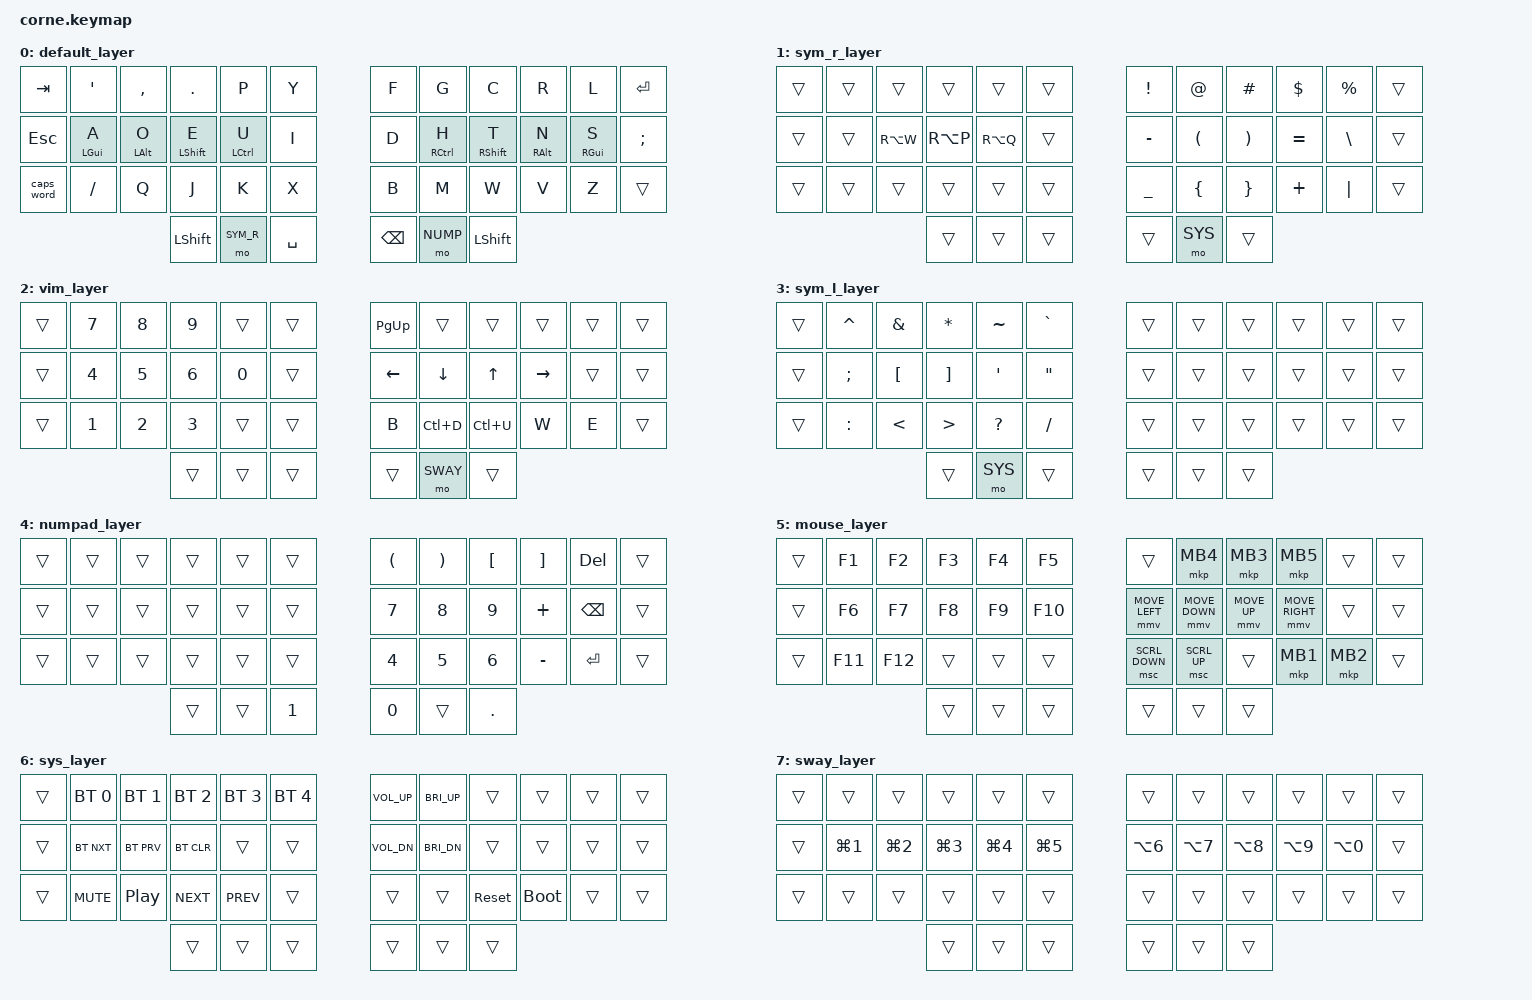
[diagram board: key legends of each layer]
/*
 * Corne v3 — Dvorak + Full HRM (no shift on HRM)
 * 
 * MODIFIER STRATEGY:
 *   HRM:       A=GUI  O=ALT  U=CTL  |  H=CTL  N=ALT  S=GUI  (GACS, no shift)
 *   Shift:     L1/R1 thumb hold (physical fallback)
 *   One-shot:  L1+R1 combo → OSM Shift
 *   Caps Word: Left outer bottom column key
 *   Reserved:  Right outer bottom column key (&trans)
 *
 * LAYER MAP:
 *   0  Base       — Dvorak + HRM
 *   1  L1         — Symbols right hand / Swedish left hand
 *   2  L2         — Vim motions right / Numbers left
 *   3  R1         — Symbols left hand
 *   4  R2         — Numpad
 *   5  L1+L2      — F-keys left / Mouse right
 *   6  R1+R2      — BT / System
 *   7  L2+R2      — Sway / Buffer switching
 *
 * COMBO LIST:
 *   L1+R1          → One-shot Shift
 *   Num layer 12   → (
 *   Num layer 23   → )
 *   Num layer 45   → [
 *   Num layer 56   → ]
 *   Num layer 78   → {
 *   Num layer 89   → }
 *
 * FREED KEYS (leave &trans, assign later if HRM feels good):
 *   Left  col bottom (old LCTRL): CAPS_WORD  ← assigned
 *   Right col bottom (old LGUI):  &trans     ← reserved
 */

#include <behaviors.dtsi>
#include <dt-bindings/zmk/bt.h>
#include <dt-bindings/zmk/keys.h>
#include <dt-bindings/zmk/pointing.h>

// ---------------------------------------------------------------------------
// Pointing defaults
// ---------------------------------------------------------------------------
#define ZMK_POINTING_DEFAULT_MOVE_VAL 1500
#define ZMK_POINTING_DEFAULT_SCRL_VAL 20

// ---------------------------------------------------------------------------
// Layer aliases
// ---------------------------------------------------------------------------
#define BASE  0
#define SYM_R 1   // L1 — symbols right / Swedish left
#define VIM   2   // L2 — vim motions right / numbers left
#define SYM_L 3   // R1 — symbols left
#define NUMP  4   // R2 — numpad
#define MOUSE 5   // L1+L2 — F-keys + mouse
#define SYS   6   // R1+R2 — BT / system
#define SWAY  7   // L2+R2 — Sway / buffers

// ---------------------------------------------------------------------------
// Timing — tuned for fast Dvorak typing
//
// tapping-term-ms:      How long a hold must be to register as hold vs tap.
//                       200ms is conservative; drop to 175 once comfortable.
// require-prior-idle-ms: Key must have been idle this long before HRM hold
//                        triggers. Prevents misfires mid-roll. 150ms is safe
//                        for ~80wpm; lower to 120 at higher speeds.
// quick-tap-ms:         Tap then hold within this window = repeat, not mod.
//                       Useful for held backspace/space.
// ---------------------------------------------------------------------------
#define HRM_TAPPING_TERM  200
#define HRM_IDLE          150
#define COMBO_TERM         40

// ---------------------------------------------------------------------------
// HRM behaviour — hold-preferred with prior-idle guard
// ---------------------------------------------------------------------------
/ {
    behaviors {
        hml: hrm_left {
            compatible = "zmk,behavior-hold-tap";
            #binding-cells = <2>;
            flavor = "balanced";
            tapping-term-ms = <HRM_TAPPING_TERM>;
            require-prior-idle-ms = <HRM_IDLE>;
            quick-tap-ms = <175>;
            hold-trigger-key-positions = <
                /* right hand keys — allow left HRM to fire when right hand presses */
                6 7 8 9 10 11
                18 19 20 21 22 23
                30 31 32 33 34 35
                39 40 41
            >;
            hold-trigger-on-release;
            bindings = <&kp>, <&kp>;
        };

        hmr: hrm_right {
            compatible = "zmk,behavior-hold-tap";
            #binding-cells = <2>;
            flavor = "balanced";
            tapping-term-ms = <HRM_TAPPING_TERM>;
            require-prior-idle-ms = <HRM_IDLE>;
            quick-tap-ms = <175>;
            hold-trigger-key-positions = <
                /* left hand keys — allow right HRM to fire when left hand presses */
                0 1 2 3 4 5
                12 13 14 15 16 17
                24 25 26 27 28 29
                36 37 38
            >;
            hold-trigger-on-release;
            bindings = <&kp>, <&kp>;
        };

        /* Layer-tap with same timing for thumb keys */
        lt_spc: layer_tap_space {
            compatible = "zmk,behavior-hold-tap";
            #binding-cells = <2>;
            flavor = "balanced";
            tapping-term-ms = <200>;
            quick-tap-ms = <175>;
            bindings = <&mo>, <&kp>;
        };
    };

// ---------------------------------------------------------------------------
// Combos
// ---------------------------------------------------------------------------
    combos {
        compatible = "zmk,combos";

        /* L1 + R1 thumbs simultaneously → one-shot shift */
        combo_osm_shift {
            timeout-ms = <COMBO_TERM>;
            key-positions = <36 41>;   /* L1 thumb + R1 thumb */
            bindings = <&sk LSHIFT>;
        };

        /* Number layer bracket combos — only active on VIM layer */
        /* Key positions on left hand num block (see VIM layer comments) */
        /* Row mapping: 1=pos13, 2=pos14, 3=pos15  4=pos25, 5=pos26, 6=pos27
                        7=pos25 ... adjust to your actual key-positions      */

        combo_num_lparen {   /* 1+2 → ( */
            timeout-ms = <COMBO_TERM>;
            key-positions = <13 14>;
            layers = <VIM>;
            bindings = <&kp LPAR>;
        };
        combo_num_rparen {   /* 2+3 → ) */
            timeout-ms = <COMBO_TERM>;
            key-positions = <14 15>;
            layers = <VIM>;
            bindings = <&kp RPAR>;
        };
        combo_num_lbkt {    /* 4+5 → [ */
            timeout-ms = <COMBO_TERM>;
            key-positions = <25 26>;
            layers = <VIM>;
            bindings = <&kp LBKT>;
        };
        combo_num_rbkt {    /* 5+6 → ] */
            timeout-ms = <COMBO_TERM>;
            key-positions = <26 27>;
            layers = <VIM>;
            bindings = <&kp RBKT>;
        };
        combo_num_lbrc {    /* 7+8 → { */
            timeout-ms = <COMBO_TERM>;
            key-positions = <1 2>;
            layers = <VIM>;
            bindings = <&kp LBRC>;
        };
        combo_num_rbrc {    /* 8+9 → } */
            timeout-ms = <COMBO_TERM>;
            key-positions = <2 3>;
            layers = <VIM>;
            bindings = <&kp RBRC>;
        };
    };

// ---------------------------------------------------------------------------
// Tri-layer bindings (L1+L2 → MOUSE, R1+R2 → SYS, L2+R2 → SWAY)
// ---------------------------------------------------------------------------
    conditional_layers {
        compatible = "zmk,conditional-layers";

        tri_mouse {
            if-layers = <SYM_R VIM>;
            then-layer = <MOUSE>;
        };
        tri_sys {
            if-layers = <SYM_L NUMP>;
            then-layer = <SYS>;
        };
        tri_sway {
            if-layers = <VIM NUMP>;
            then-layer = <SWAY>;
        };
    };

// ---------------------------------------------------------------------------
// Keymap
// ---------------------------------------------------------------------------
    keymap {
        compatible = "zmk,keymap";

        // -------------------------------------------------------------------
        // 0: BASE — Dvorak + HRM
        //
        // HRM assignments (hold=mod, tap=key):
        //   A → GUI   O → ALT   U → CTL   (left hand, pinky→index)
        //   H → CTL   N → ALT   S → GUI   (right hand, index→pinky)
        //
        // Outer bottom column:
        //   Left:  CAPS_WORD
        //   Right: &trans (reserved — physical fallback once HRM feels good)
        //
        // ┌──────┬──────┬──────┬──────┬──────┬──────┐ ┌──────┬──────┬──────┬──────┬──────┬──────┐
        // │  TAB │  '   │  ,   │  .   │  P   │  Y   │ │  F   │  G   │  C   │  R   │  L   │ ENT  │
        // │  ESC │ GUI/A│ ALT/O│ SFT/E│ CTL/U│  I   │ │  D   │ CTL/H│ SFT/T│ ALT/N│ GUI/S│  ;   │
        // │ CAPS │  /   │  Q   │  J   │  K   │  X   │ │  B   │  M   │  W   │  V   │  Z   │trans │
        // └──────┴──────┴──────┼──────┼──────┼──────┤ ├──────┼──────┼──────┼──────┴──────┴──────┘
        //                      │ SFT  │  L1  │ SPC  │ │ BSP  │  R2  │ SFT  │
        //                      └──────┴──────┴──────┘ └──────┴──────┴──────┘
        //                      (R1 is right thumb → mo SYM_L)
        // -------------------------------------------------------------------
        default_layer {
            bindings = <
&kp TAB     &kp SQT          &kp COMMA       &kp DOT          &kp P           &kp Y       &kp F     &kp G            &kp C            &kp R           &kp L          &kp RET
&kp ESC     &hml LGUI A      &hml LALT O     &hml LSHIFT E    &hml LCTRL U    &kp I       &kp D     &hmr RCTRL H     &hmr RSHIFT T    &hmr RALT N     &hmr RGUI S    &kp SEMI
&caps_word  &kp SLASH        &kp Q           &kp J            &kp K           &kp X       &kp B     &kp M            &kp W            &kp V           &kp Z          &trans
                                             &kp LSHIFT       &mo SYM_R       &kp SPACE   &kp BSPC  &mo NUMP         &kp LSHIFT
            >;
        };

        // -------------------------------------------------------------------
        // 1: SYM_R (L1) — Symbols right hand / Swedish left hand
        //
        // Left hand: Swedish characters on home row (å ä ö)
        //            using RA() = Right Alt / AltGr for Swedish input
        //            (requires OS Swedish layout or custom key codes)
        //
        // Right hand: Core coding symbols
        //   Top:    !  @  #  $  %
        //   Home:   -  (  )  =  \
        //   Bottom: _  {  }  +  |
        //
        // ┌──────┬──────┬──────┬──────┬──────┬──────┐ ┌──────┬──────┬──────┬──────┬──────┬──────┐
        // │      │      │      │      │      │      │ │  !   │  @   │  #   │  $   │  %   │      │
        // │      │      │  Å   │  Ä   │  Ö   │      │ │  -   │  (   │  )   │  =   │  \   │      │
        // │      │      │      │      │      │      │ │  _   │  {   │  }   │  +   │  |   │      │
        // └──────┴──────┴──────┼──────┼──────┼──────┤ ├──────┼──────┼──────┼──────┴──────┴──────┘
        //                      │      │[held]│      │ │      │      │      │
        //                      └──────┴──────┴──────┘ └──────┴──────┴──────┘
        // -------------------------------------------------------------------
        sym_r_layer {
            bindings = <
&trans  &trans       &trans       &trans       &trans       &trans      &kp EXCL   &kp AT    &kp HASH  &kp DLLR  &kp PRCNT  &trans
&trans  &trans       &kp RA(W)    &kp RA(P)    &kp RA(Q)    &trans      &kp MINUS  &kp LPAR  &kp RPAR  &kp EQUAL &kp BSLH   &trans
&trans  &trans       &trans       &trans       &trans       &trans      &kp UNDER  &kp LBRC  &kp RBRC  &kp PLUS  &kp PIPE   &trans
                                  &trans       &trans       &trans      &trans     &mo SYS   &trans
            >;
        };

        // -------------------------------------------------------------------
        // 2: VIM (L2) — Vim motions right / Numbers left
        //
        // Left hand numbers — row-based for natural count+motion:
        //   Top:    -  7  8  9  -
        //   Home:   0  4  5  6  -
        //   Bottom: -  1  2  3  -
        //
        // Numbers placed so 5j = left index (5) + right index (J) — same row.
        //
        // Right hand motions:
        //   Top:    pgup  -    -    -    -
        //   Home:   ←    ↓    ↑    →    -
        //   Bottom: B    C+d  C+u   W    E    (B=back word, W=fwd word, E=end)
        //           ge   C-d  C-u  w    e
        //
        // Ctrl+D/U on bottom row for page scrolling without leaving layer.
        //
        // ┌──────┬──────┬──────┬──────┬──────┬──────┐ ┌──────┬──────┬──────┬──────┬──────┬──────┐
        // │      │  7   │  8   │  9   │      │      │ │ PGUP │      │      │      │      │      │
        // │      │  4   │  5   │  6   │  0   │      │ │  ←   │  ↓   │  ↑   │  →   │      │      │
        // │      │  1   │  2   │  3   │      │      │ │  B   │ C+d  │ C+u  │  W   │  E   │      │
        // └──────┴──────┴──────┼──────┼──────┼──────┤ ├──────┼──────┼──────┼──────┴──────┴──────┘
        //                      │      │[held]│      │ │      │      │      │
        //                      └──────┴──────┴──────┘ └──────┴──────┴──────┘
        // -------------------------------------------------------------------
        vim_layer {
            bindings = <
&trans  &kp N7  &kp N8  &kp N9  &trans  &trans      &kp PG_UP  &trans      &trans    &trans     &trans  &trans
&trans  &kp N4  &kp N5  &kp N6  &kp N0  &trans      &kp LEFT   &kp DOWN    &kp UP    &kp RIGHT  &trans  &trans
&trans  &kp N1  &kp N2  &kp N3  &trans  &trans      &kp B      &kp LC(D)   &kp LC(U) &kp W      &kp E   &trans
                        &trans  &trans  &trans      &trans     &mo SWAY    &trans
            >;
        };

        // 3: SYM_L (R1) — Symbols left hand
        // Left:  ^ & * ~ ` / ; [ ] ' " : < > ?
        // Right: transparent (free for HRM mods simultaneously)
        // -------------------------------------------------------------------
        sym_l_layer {
            bindings = <
&trans  &kp CARET  &kp AMPS  &kp ASTRK  &kp TILDE  &kp GRAVE    &trans  &trans  &trans  &trans  &trans  &trans
&trans  &kp SEMI   &kp LBKT  &kp RBKT   &kp SQT    &kp DQT      &trans  &trans  &trans  &trans  &trans  &trans
&trans  &kp COLON  &kp LT    &kp GT     &kp QMARK  &kp SLASH    &trans  &trans  &trans  &trans  &trans  &trans
                              &trans     &mo SYS    &trans       &trans  &trans  &trans
            >;
        };

        // -------------------------------------------------------------------
        // 4: NUMP (R2) — Numpad
        // Right: brackets top, 7-9 home, 4-6 mid, BSP on pinky
        // Thumb: 1 / 0 / .  — no crossing needed
        // Left:  transparent (free for HRM mods)
        // -------------------------------------------------------------------
        numpad_layer {
            bindings = <
&trans  &trans  &trans  &trans  &trans  &trans      &kp LPAR  &kp RPAR  &kp LBKT  &kp RBKT  &kp DEL   &trans
&trans  &trans  &trans  &trans  &trans  &trans      &kp N7    &kp N8    &kp N9    &kp PLUS  &kp BSPC  &trans
&trans  &trans  &trans  &trans  &trans  &trans      &kp N4    &kp N5    &kp N6    &kp MINUS &kp RET   &trans
                        &trans  &trans  &kp N1      &kp N0    &trans    &kp DOT
            >;
        };

        // -------------------------------------------------------------------
        // 5: MOUSE (L1+L2) — F-keys left / Mouse right
        // Left:  F1-F12
        // Right: mouse move UDLR, scroll, MB1-MB5
        // -------------------------------------------------------------------
        mouse_layer {
            bindings = <
&trans  &kp F1   &kp F2   &kp F3  &kp F4  &kp F5      &trans          &mkp MB4        &mkp MB3      &mkp MB5         &trans    &trans
&trans  &kp F6   &kp F7   &kp F8  &kp F9  &kp F10     &mmv MOVE_LEFT  &mmv MOVE_DOWN  &mmv MOVE_UP  &mmv MOVE_RIGHT  &trans    &trans
&trans  &kp F11  &kp F12  &trans  &trans  &trans      &msc SCRL_DOWN  &msc SCRL_UP    &trans        &mkp MB1         &mkp MB2  &trans
                           &trans  &trans  &trans      &trans          &trans          &trans
            >;
        };

        // -------------------------------------------------------------------
        // 6: SYS (R1+R2) — Bluetooth / System
        // Left:  BT select 0-4, BT next/prev/clear, media
        // Right: volume, brightness, sys_reset, bootloader
        // -------------------------------------------------------------------
        sys_layer {
            bindings = <
&trans  &bt BT_SEL 0  &bt BT_SEL 1  &bt BT_SEL 2  &bt BT_SEL 3  &bt BT_SEL 4    &kp C_VOL_UP  &kp C_BRI_UP  &trans      &trans       &trans  &trans
&trans  &bt BT_NXT    &bt BT_PRV    &bt BT_CLR    &trans        &trans          &kp C_VOL_DN  &kp C_BRI_DN  &trans      &trans       &trans  &trans
&trans  &kp C_MUTE    &kp C_PP      &kp C_NEXT    &kp C_PREV    &trans          &trans        &trans        &sys_reset  &bootloader  &trans  &trans
                                    &trans        &trans        &trans          &trans        &trans        &trans
            >;
        };

        // -------------------------------------------------------------------
        // 7: SWAY (L2+R2) — Sway WM + buffer switching
        // Left home:  LG(1-5) Sway workspaces (Super+N)
        // Right home: LA(6-0) buffer/tab switch (Alt+N)
        // Change LG() to LC() if your Sway MOD key is Ctrl.
        // -------------------------------------------------------------------
        sway_layer {
            bindings = <
&trans  &trans      &trans      &trans      &trans      &trans          &trans      &trans      &trans      &trans      &trans      &trans
&trans  &kp LG(N1)  &kp LG(N2)  &kp LG(N3)  &kp LG(N4)  &kp LG(N5)      &kp LA(N6)  &kp LA(N7)  &kp LA(N8)  &kp LA(N9)  &kp LA(N0)  &trans
&trans  &trans      &trans      &trans      &trans      &trans          &trans      &trans      &trans      &trans      &trans      &trans
                                &trans      &trans      &trans          &trans      &trans      &trans
            >;
        };
    };
};
